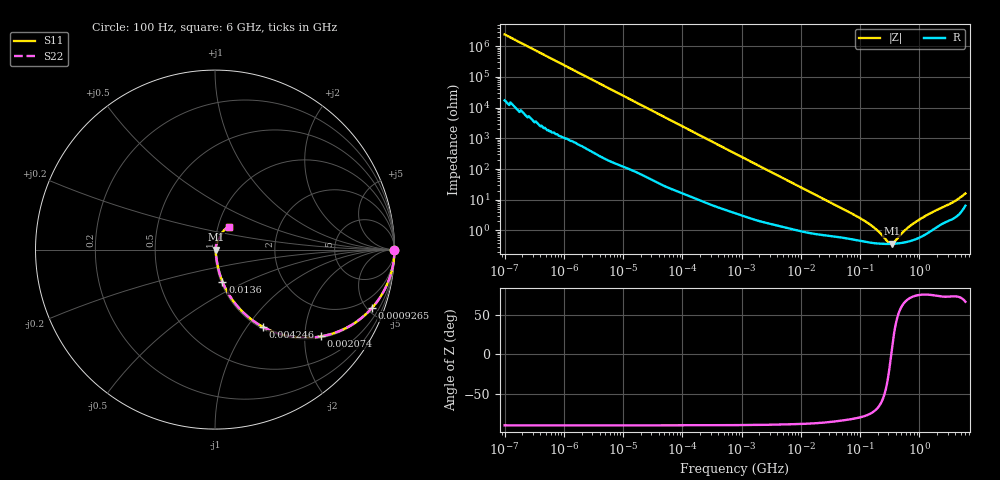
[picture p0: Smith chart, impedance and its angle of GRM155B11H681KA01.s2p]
!Murata Part Number: GRM155B11H681KA01
!These Parameters are Measured in Series Mode Connection
!Data Generated on Mar 30, 2021
!  o--ll--o
!Port1  Port2
!  o------o
!Operation Temp=25[degC], DC Bias Voltage=0[V]
!Freq. Start=100[Hz] Stop=6[GHz] 401[Steps]
# Hz S RI R 50
!Freq.(Hz) S11(Real) S11(Imag) S21(Real) S21(Imag) S12(Real) S12(Imag) S22(Real) S22(Imag)
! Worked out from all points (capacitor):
!   401 points, 100 Hz to 6 GHz, reference 50 ohm
!   read as one part in series: C = 659 pF near 109 Hz
!   lowest |Z| = 368 mohm at 341.7 MHz (marker M1)
!   series resonance near 335.9 MHz, so ESL is about 340 pH
!   S11 on the Smith chart (normalised r, x): 100 Hz: open; 926.5 kHz: 1.07, -5.38; 2.074 MHz: 1.04, -2.41; 4.246 MHz: 1.03, -1.19; 13.6 MHz: 1.02, -0.38; 6 GHz: 1.13, +0.29
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100  1 -4.15e-05  3e-07 4.15e-05  3e-07 4.15e-05  1 -4.15e-05
256  1 -0.000106  6e-07 0.000106  6e-07 0.000106  1 -0.000106
2008  1 -0.000825  4.5e-06 0.000825  4.5e-06 0.000825  1 -0.000825
40335  0.9996 -0.0164  0.000361 0.0164  0.000361 0.0164  0.9996 -0.0164
231233  0.9906 -0.0926  0.00939 0.0926  0.00939 0.0926  0.9906 -0.0926
774597  0.909 -0.282  0.091 0.282  0.091 0.282  0.909 -0.282
926525  0.8755 -0.3242  0.1245 0.3242  0.1245 0.3242  0.8755 -0.3242
2074311  0.5915 -0.4834  0.4085 0.4834  0.4085 0.4834  0.5915 -0.4834
4246196  0.2653 -0.4297  0.7347 0.4297  0.7347 0.4297  0.2653 -0.4297
7266822  0.116 -0.3049  0.884 0.3049  0.884 0.3049  0.116 -0.3049
1.360128e7  0.0414 -0.1783  0.9586 0.1783  0.9586 0.1783  0.0414 -0.1783
1.555665e7  0.0335 -0.1574  0.9665 0.1574  0.9665 0.1574  0.0335 -0.1574
3.64232e7  0.0112 -0.0694  0.9888 0.0694  0.9888 0.0694  0.0112 -0.0694
1.220122e8  0.00462 -0.0193  0.9954 0.0193  0.9954 0.0193  0.00462 -0.0193
1.909225e8  0.00387 -0.00978  0.9961 0.00978  0.9961 0.00978  0.00387 -0.00978
3.124326e8  0.00364 -0.0012  0.9964 0.0012  0.9964 0.0012  0.00364 -0.0012
3.417016e8  0.00366 0.000286  0.9963 -0.000286  0.9963 -0.000286  0.00366 0.000286
3.908258e8  0.00372 0.00252  0.9963 -0.00252  0.9963 -0.00252  0.00372 0.00252
6.11557e8  0.00431 0.0105  0.9957 -0.0105  0.9957 -0.0105  0.00431 0.0105
9.150511e8  0.00574 0.0193  0.9943 -0.0193  0.9943 -0.0193  0.00574 0.0193
3.666503e9  0.0289 0.0749  0.9711 -0.0749  0.9711 -0.0749  0.0289 0.0749
6e9  0.0779 0.1277  0.9221 -0.1277  0.9221 -0.1277  0.0779 0.1277
